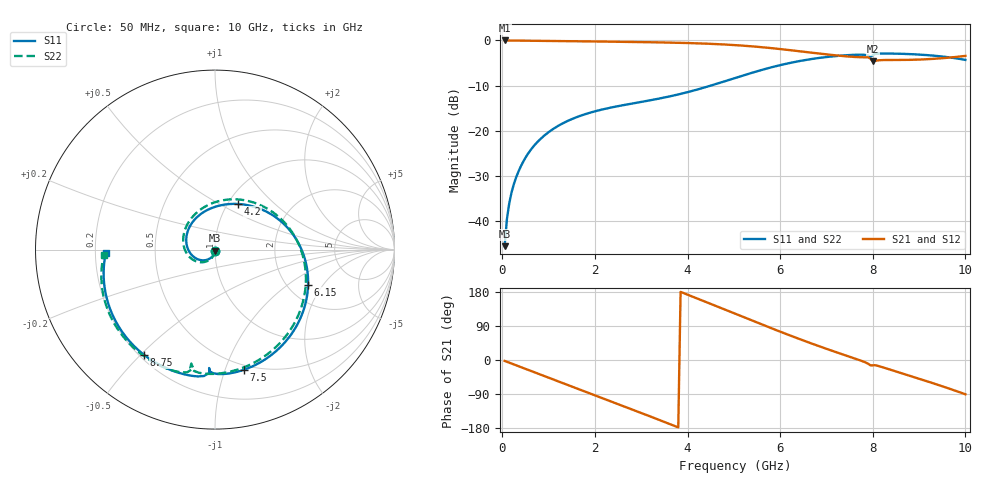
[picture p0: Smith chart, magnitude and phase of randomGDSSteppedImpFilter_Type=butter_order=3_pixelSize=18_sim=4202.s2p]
! freq	dB(S11)	phase(S11)	dB(S12)	phase(S12)
!  dB(S21)	phase(S21)	dB(S22)	phase(S22)
!S-par simulation data
#  GHz  S  DB  R 50
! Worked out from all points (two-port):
!   200 points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, 50 MHz to 10 GHz, reference 50 ohm
!   highest |S21| = 0.00 dB at 50 MHz (marker M1); lowest = -4.6 dB at 8 GHz (marker M2)
!   |S21| within 3 dB of the highest: start of sweep to 6.922 GHz
!   lowest |S11| = -45.7 dB at 50 MHz (marker M3), VSWR 1.01, Z = 50 - j0.521 ohm
!   |S11| at or under -10 dB: start of sweep to 4.509 GHz
!   |S22| runs from -45.6 to -2.9 dB; largest |S21 - S12| = 0
!   S11 on the Smith chart (normalised r, x): 50 MHz: 1.00, -0.01; 4.2 GHz: 1.11, +0.62; 6.15 GHz: 2.57, -1.44; 7.5 GHz: 0.46, -1.16; 8.75 GHz: 0.22, -0.51; 10 GHz: 0.24, -0.01
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0.05  -45.66 -91.7  -0.00 -2.4  -0.00 -2.4  -45.65 -91.2
0.1  -39.65 -94.3  -0.01 -4.7  -0.01 -4.7  -39.65 -93.5
0.2  -33.72 -99.2  -0.02 -9.4  -0.02 -9.4  -33.72 -97.5
0.5  -26.03 -115.9  -0.04 -23.4  -0.04 -23.4  -26.02 -111.5
1.15  -19.31 -149.6  -0.11 -53.6  -0.11 -53.6  -19.32 -139.5
1.75  -16.50 179.8  -0.19 -81.4  -0.19 -81.4  -16.52 -164.9
2.15  -15.35 159.6  -0.24 -99.9  -0.24 -99.9  -15.38 178.0
2.55  -14.48 139.6  -0.30 -118.6  -0.30 -118.6  -14.53 160.5
3.4  -12.88 98.9  -0.43 -158.7  -0.43 -158.7  -12.95 120.8
3.8  -11.99 80.9  -0.52 -177.9  -0.52 -177.9  -12.07 100.4
4.2  -10.93 63.5  -0.64 162.8  -0.64 162.8  -11.01 79.2
5.05  -8.26 27.1  -1.05 121.0  -1.05 121.0  -8.32 32.9
5.6  -6.55 3.3  -1.49 94.0  -1.49 94.0  -6.60 3.5
6.15  -5.13 -20.5  -2.08 67.7  -2.08 67.7  -5.17 -24.4
6.7  -4.09 -43.9  -2.74 42.6  -2.74 42.6  -4.12 -50.4
7.5  -3.24 -76.5  -3.59 8.5  -3.59 8.5  -3.26 -84.9
7.9  -3.38 -92.7  -3.75 -10.0  -3.75 -10.0  -3.45 -101.8
8  -3.28 -92.3  -4.59 -14.2  -4.59 -14.2  -3.43 -100.3
8.35  -2.91 -108.2  -4.34 -24.4  -4.34 -24.4  -2.91 -116.1
8.75  -3.01 -123.9  -4.31 -39.8  -4.31 -39.8  -2.98 -131.1
9.4  -3.46 -150.5  -4.02 -65.2  -4.02 -65.2  -3.38 -154.8
10  -4.32 -178.3  -3.43 -90.5  -3.43 -90.5  -4.15 -177.1
